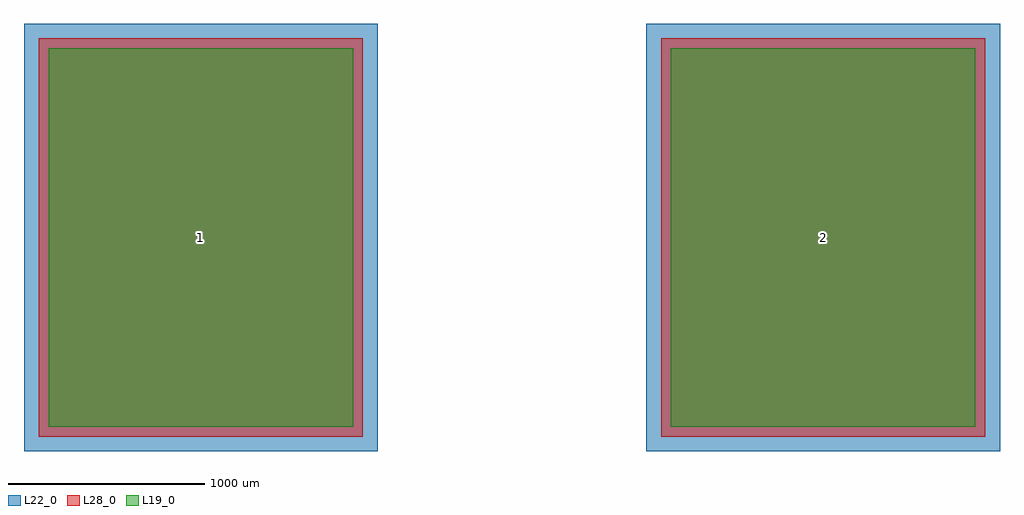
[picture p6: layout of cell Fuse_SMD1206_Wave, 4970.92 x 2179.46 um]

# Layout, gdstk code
import gdstk
lib = gdstk.Library(unit=1e-6, precision=1e-09)
def R(c, l, rs):  # rectangles x0, y0, x1, y1
    for r in rs: c.add(gdstk.rectangle(r[:2], r[2:], *l))
L19_0 = (19, 0)
L22_0 = (22, 0)
L28_0 = (28, 0)

fuse_smd1206_wave = lib.new_cell('Fuse_SMD1206_Wave')
R(fuse_smd1206_wave, L19_0, [(-2360.46,-964.73,-809.46,964.73), (809.46,-964.73,2360.46,964.73)])
R(fuse_smd1206_wave, L22_0, [(-2485.46,-1089.73,-684.46,1089.73), (684.46,-1089.73,2485.46,1089.73)])
R(fuse_smd1206_wave, L28_0, [(-2410.46,-1014.73,-759.46,1014.73), (759.46,-1014.73,2410.46,1014.73)])
fuse_smd1206_wave.add(gdstk.Label('2', (1584.96,0), layer=28, texttype=0))
fuse_smd1206_wave.add(gdstk.Label('1', (-1584.96,0), layer=28, texttype=0))
fuse_smd1206_wave.add(gdstk.Label('type', (-149.86,-2499.36), layer=9, texttype=0))
fuse_smd1206_wave.add(gdstk.Label('devicename', (-50.8,2199.64), layer=9, texttype=0))

lib.write_gds('Fuse_SMD1206_Wave.gds')
